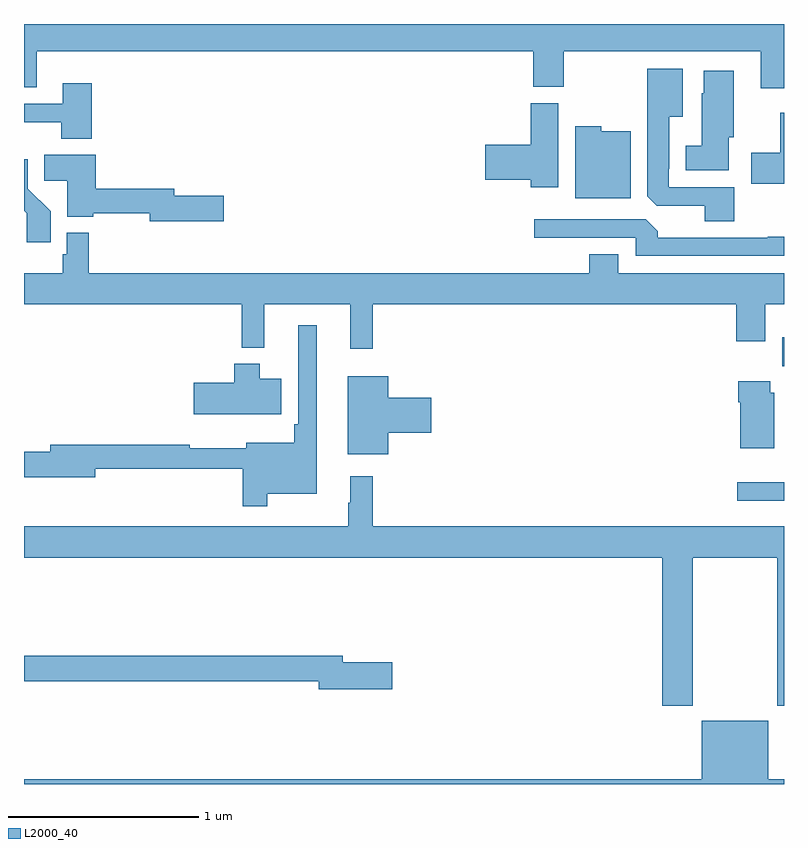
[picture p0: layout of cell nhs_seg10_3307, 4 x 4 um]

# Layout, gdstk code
import gdstk
lib = gdstk.Library(unit=1e-6, precision=1e-09)
def R(c, l, rs):  # rectangles x0, y0, x1, y1
    for r in rs: c.add(gdstk.rectangle(r[:2], r[2:], *l))
def P(c, l, *ps):  # polygons
    for p in ps: c.add(gdstk.Polygon(p, *l))
L2000_40 = (2000, 40)

nhs_seg10_3307 = lib.new_cell('nhs_seg10_3307')
R(nhs_seg10_3307, L2000_40, [(294.753,1257.992,295,1258.089), (294.992,1258.698,295,1258.852)])
P(nhs_seg10_3307, L2000_40, [(295,1260.5),(291,1260.5),(291,1260.166),(291.067,1260.166),(291.067,1260.356),(293.681,1260.356),(293.681,1260.169),(293.841,1260.169),(293.841,1260.356),(294.878,1260.356),(294.878,1260.162),(295,1260.162)],
  [(294.737,1259.64),(294.393,1259.64),(294.393,1259.737),(294.397,1259.737),(294.397,1260.011),(294.466,1260.011),(294.466,1260.265),(294.281,1260.265),(294.281,1259.593),(294.33,1259.544),(294.584,1259.544),(294.584,1259.461),(294.737,1259.461)],
  [(294.709,1259.904),(294.736,1259.904),(294.736,1260.253),(294.578,1260.253),(294.578,1260.135),(294.566,1260.135),(294.566,1259.86),(294.482,1259.86),(294.482,1259.729),(294.709,1259.729)],
  [(291.356,1260.187),(291.203,1260.187),(291.203,1260.081),(291,1260.081),(291,1259.982),(291.196,1259.982),(291.196,1259.897),(291.356,1259.897)],
  [(293.812,1260.084),(293.666,1260.084),(293.666,1259.864),(293.427,1259.864),(293.427,1259.681),(293.666,1259.681),(293.666,1259.64),(293.812,1259.64)],
  [(295,1260.034),(294.98,1260.034),(294.98,1259.823),(294.828,1259.823),(294.828,1259.66),(295,1259.66)],
  [(294.193,1259.935),(294.039,1259.935),(294.039,1259.962),(293.9,1259.962),(293.9,1259.582),(294.193,1259.582)],
  [(292.051,1259.597),(291.79,1259.597),(291.79,1259.633),(291.377,1259.633),(291.377,1259.812),(291.106,1259.812),(291.106,1259.674),(291.227,1259.674),(291.227,1259.486),(291.364,1259.486),(291.364,1259.505),(291.662,1259.505),(291.662,1259.462),(292.051,1259.462)],
  [(291.14,1259.514),(291.021,1259.633),(291.021,1259.788),(291,1259.788),(291,1259.518),(291.015,1259.503),(291.015,1259.352),(291.14,1259.352)],
  [(295,1259.381),(294.914,1259.381),(294.914,1259.376),(294.335,1259.376),(294.335,1259.41),(294.273,1259.472),(293.685,1259.472),(293.685,1259.376),(294.219,1259.376),(294.219,1259.28),(295,1259.28)],
  [(292.835,1259.024),(294.749,1259.024),(294.749,1258.83),(294.901,1258.83),(294.901,1259.024),(295,1259.024),(295,1259.188),(294.127,1259.188),(294.127,1259.287),(293.975,1259.287),(293.975,1259.188),(291.341,1259.188),(291.341,1259.401),(291.225,1259.401),(291.225,1259.289),(291.205,1259.289),(291.205,1259.188),(291,1259.188),(291,1259.024),(292.147,1259.024),(292.147,1258.796),(292.265,1258.796),(292.265,1259.024),(292.718,1259.024),(292.718,1258.791),(292.835,1258.791)],
  [(292.279,1258.028),(292.54,1258.028),(292.54,1258.915),(292.443,1258.915),(292.443,1258.393),(292.423,1258.393),(292.423,1258.297),(292.169,1258.297),(292.169,1258.267),(291.873,1258.267),(291.873,1258.286),(291.137,1258.286),(291.137,1258.25),(291,1258.25),(291,1258.115),(291.376,1258.115),(291.376,1258.158),(292.15,1258.158),(292.15,1257.963),(292.279,1257.963)],
  [(292.354,1258.633),(292.24,1258.633),(292.24,1258.711),(292.106,1258.711),(292.106,1258.611),(291.894,1258.611),(291.894,1258.445),(292.354,1258.445)],
  [(292.918,1258.349),(293.143,1258.349),(293.143,1258.532),(292.918,1258.532),(292.918,1258.645),(292.703,1258.645),(292.703,1258.235),(292.918,1258.235)],
  [(294.949,1258.56),(294.928,1258.56),(294.928,1258.621),(294.758,1258.621),(294.758,1258.508),(294.77,1258.508),(294.77,1258.268),(294.949,1258.268)],
  [(294.519,1257.692),(294.964,1257.692),(294.964,1256.913),(295,1256.913),(295,1257.856),(292.835,1257.856),(292.835,1258.12),(292.718,1258.12),(292.718,1257.98),(292.707,1257.98),(292.707,1257.856),(291,1257.856),(291,1257.692),(294.359,1257.692),(294.359,1256.913),(294.519,1256.913)],
  [(292.939,1257.14),(292.678,1257.14),(292.678,1257.176),(291,1257.176),(291,1257.04),(292.55,1257.04),(292.55,1256.998),(292.939,1256.998)],
  [(291,1256.5),(295,1256.5),(295,1256.524),(294.916,1256.524),(294.916,1256.833),(294.566,1256.833),(294.566,1256.524),(291,1256.524)])

lib.write_gds('nhs_seg10_3307.gds')
